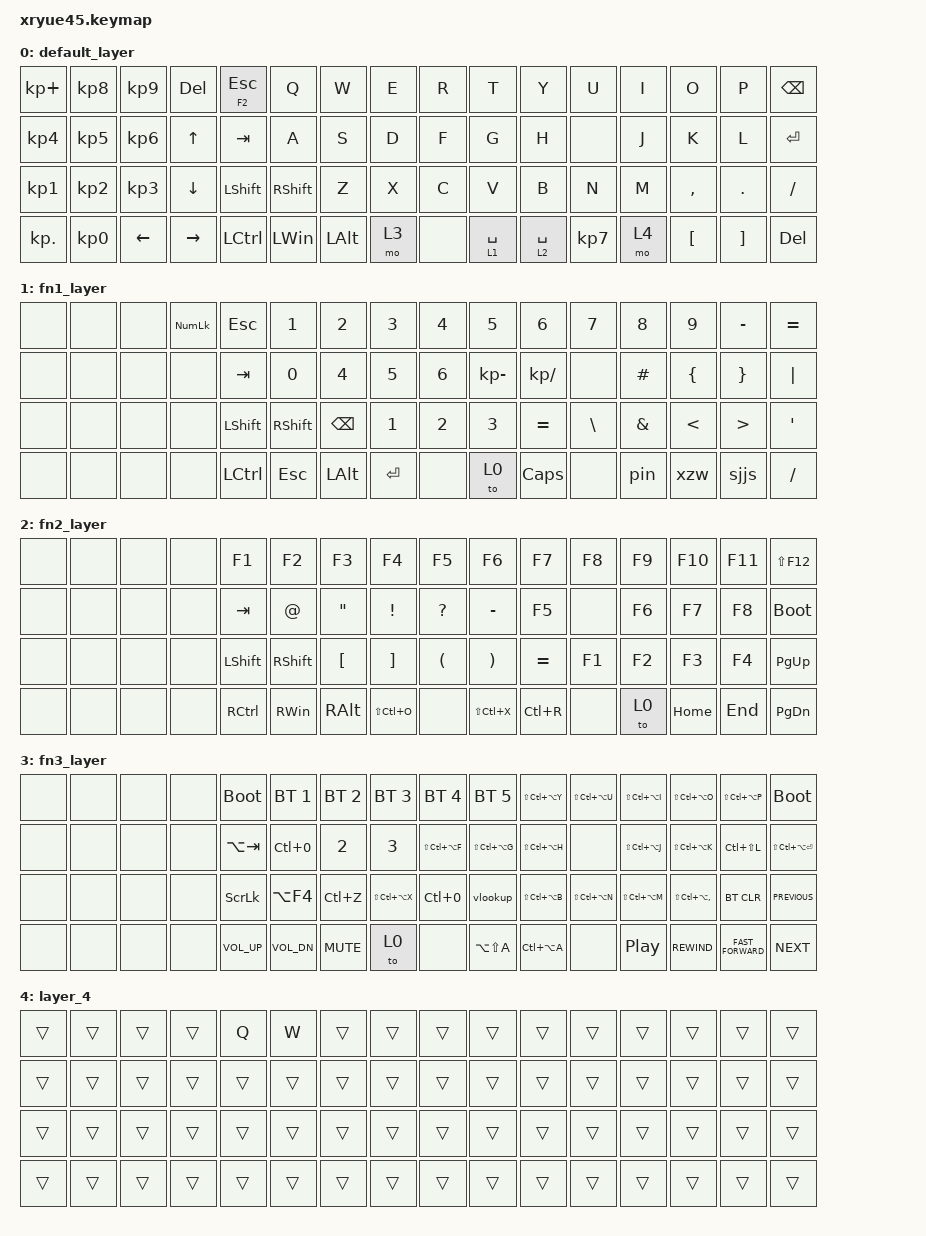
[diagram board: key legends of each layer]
/*
 * Copyright (c) 2020 The ZMK Contributors
 *
 * SPDX-License-Identifier: MIT
 */

#include <behaviors.dtsi>
#include <dt-bindings/zmk/bt.h>
#include <dt-bindings/zmk/keys.h>

/ {
    macros {
        pin: pin {
            compatible = "zmk,behavior-macro";
            #binding-cells = <0>;
            bindings = <&kp N1 &kp N2 &kp N3 &kp N1 &kp N2 &kp N3>;
        };

        xzw: xzw {
            compatible = "zmk,behavior-macro";
            #binding-cells = <0>;
            bindings =
                <&macro_tap>,
                <&kp X &kp Z &kp W>,
                <&macro_press>,
                <&kp LSHFT>,
                <&macro_tap>,
                <&kp X &kp Z &kp W>,
                <&macro_release>,
                <&kp LSHFT>,
                <&macro_tap>,
                <&kp N1 &kp N9 &kp N9 &kp N1 &kp EXCL>;
        };

        jd: jd {
            compatible = "zmk,behavior-macro";
            #binding-cells = <0>;
            bindings =
                <&macro_tap>,
                <&kp J &kp D>,
                <&macro_press>,
                <&kp LSHFT>,
                <&macro_tap>,
                <&kp W &kp L>,
                <&macro_release>,
                <&kp LSHFT>,
                <&macro_tap>,
                <&kp AT &kp O &kp P &kp S &kp N6 &kp N1 &kp N8>;
        };

        sjjs: sjjs {
            compatible = "zmk,behavior-macro";
            #binding-cells = <0>;
            bindings = <&kp N1 &kp N9 &kp N9 &kp N3 &kp N1 &kp N8>;
            label = "SJJS";
        };

        vlookup: vlookup {
            compatible = "zmk,behavior-macro";
            #binding-cells = <0>;
            bindings = <&kp EQUAL &kp LS(V) &kp LS(L) &kp LS(O) &kp LS(O) &kp LS(K) &kp LS(U) &kp LS(P) &kp LPAR>;
            label = "VLOOKUP";
        };
    };

    combos {
        compatible = "zmk,combos";

        combo_CAPS {
            #timeout-ms = <5>;
            key-positions = <23 24>;
            bindings = <&kp CAPS>;
        };

        combo_ctrlc {
            key-positions = <4 5>;
            bindings = <&kp LC(C)>;
        };

        combo_f5 {
            key-positions = <61 62>;
            bindings = <&kp F5>;
        };

        combo_f12 {
            key-positions = <47 63>;
            bindings = <&kp F12>;
        };

        combo_ctrlv {
            bindings = <&kp LC(V)>;
            key-positions = <5 6>;
        };
    };

    keymap0: keymap {
        compatible = "zmk,keymap";

        default_layer {
            bindings = <
&kp KP_PLUS  &kp KP_N8  &kp KP_N9  &kp DELETE  &mt F2 ESC  &kp Q      &kp W     &kp E  &kp R  &kp T        &kp Y        &kp U      &kp I  &kp O             &kp P              &kp BSPC
&kp KP_N4    &kp KP_N5  &kp KP_N6  &kp UP      &kp TAB     &kp A      &kp S     &kp D  &kp F  &kp G        &kp H        &none      &kp J  &kp K             &kp L              &kp ENTER
&kp KP_N1    &kp KP_N2  &kp KP_N3  &kp DOWN    &kp LSHFT   &kp RSHFT  &kp Z     &kp X  &kp C  &kp V        &kp B        &kp N      &kp M  &kp COMMA         &kp DOT            &kp SLASH
&kp KP_DOT   &kp KP_N0  &kp LEFT   &kp RIGHT   &kp LCTRL   &kp LWIN   &kp LALT  &mo 3  &none  &lt 1 SPACE  &lt 2 SPACE  &kp KP_N7  &mo 4  &kp LEFT_BRACKET  &kp RIGHT_BRACKET  &kp DEL
            >;
        };

        fn1_layer {
            bindings = <
&none  &none  &none  &kp KP_NUM  &kp ESC    &kp NUMBER_1  &kp NUMBER_2  &kp NUMBER_3  &kp NUMBER_4  &kp N5        &kp NUMBER_6  &kp N7    &kp N8    &kp N9    &kp MINUS  &kp EQUAL
&none  &none  &none  &none       &kp TAB    &kp N0        &kp N4        &kp N5        &kp N6        &kp KP_MINUS  &kp KP_SLASH  &none     &kp HASH  &kp LBRC  &kp RBRC   &kp PIPE
&none  &none  &none  &none       &kp LSHFT  &kp RSHFT     &kp BSPC      &kp N1        &kp N2        &kp N3        &kp EQUAL     &kp BSLH  &kp AMPS  &kp LT    &kp GT     &kp SQT
&none  &none  &none  &none       &kp LCTRL  &kp ESC       &kp LALT      &kp ENTER     &none         &to 0         &kp CAPS      &none     &pin      &xzw      &sjjs      &kp SLASH
            >;
        };

        fn2_layer {
            bindings = <
&none  &none  &none  &none  &kp F1     &kp F2     &kp F3    &kp F4         &kp F5     &kp F6         &kp F7     &kp F8  &kp F9  &kp F10   &kp F11  &kp LS(F12)
&none  &none  &none  &none  &kp TAB    &kp AT     &kp DQT   &kp EXCL       &kp QMARK  &kp MINUS      &kp F5     &none   &kp F6  &kp F7    &kp F8   &bootloader
&none  &none  &none  &none  &kp LSHFT  &kp RSHFT  &kp LBKT  &kp RBKT       &kp LPAR   &kp RPAR       &kp EQUAL  &kp F1  &kp F2  &kp F3    &kp F4   &kp PG_UP
&none  &none  &none  &none  &kp RCTRL  &kp RWIN   &kp RALT  &kp LS(LC(O))  &none      &kp LS(LC(X))  &kp LC(R)  &none   &to 0   &kp HOME  &kp END  &kp PG_DN
            >;
        };

        fn3_layer {
            bindings = <
&none  &none  &none  &none  &bootloader   &bt BT_SEL 1  &bt BT_SEL 2  &bt BT_SEL 3       &bt BT_SEL 4       &bt BT_SEL 5       &kp LS(LC(LA(Y)))  &kp LS(LC(LA(U)))  &kp LS(LC(LA(I)))  &kp LS(LC(LA(O)))      &kp LS(LC(LA(P)))   &bootloader
&none  &none  &none  &none  &kp LA(TAB)   &kp LC(N0)    &kp N2        &kp N3             &kp LS(LC(LA(F)))  &kp LS(LC(LA(G)))  &kp LS(LC(LA(H)))  &none              &kp LS(LC(LA(J)))  &kp LS(LC(LA(K)))      &kp LC(LS(L))       &kp LS(LC(LA(ENTER)))
&none  &none  &none  &none  &kp SLCK      &kp LA(F4)    &kp LC(Z)     &kp LS(LC(LA(X)))  &kp LC(N0)         &vlookup           &kp LS(LC(LA(B)))  &kp LS(LC(LA(N)))  &kp LS(LC(LA(M)))  &kp LS(LC(LA(COMMA)))  &bt BT_CLR          &kp C_PREVIOUS
&none  &none  &none  &none  &kp C_VOL_UP  &kp C_VOL_DN  &kp C_MUTE    &to 0              &none              &kp LA(LS(A))      &kp LC(LA(A))      &none              &kp C_PP           &kp C_REWIND           &kp C_FAST_FORWARD  &kp C_NEXT
            >;
        };

        layer_4 {
            bindings = <
&trans  &trans  &trans  &trans  &kp Q   &kp W   &trans  &trans  &trans  &trans  &trans  &trans  &trans  &trans  &trans  &trans
&trans  &trans  &trans  &trans  &trans  &trans  &trans  &trans  &trans  &trans  &trans  &trans  &trans  &trans  &trans  &trans
&trans  &trans  &trans  &trans  &trans  &trans  &trans  &trans  &trans  &trans  &trans  &trans  &trans  &trans  &trans  &trans
&trans  &trans  &trans  &trans  &trans  &trans  &trans  &trans  &trans  &trans  &trans  &trans  &trans  &trans  &trans  &trans
            >;
        };
    };
};
